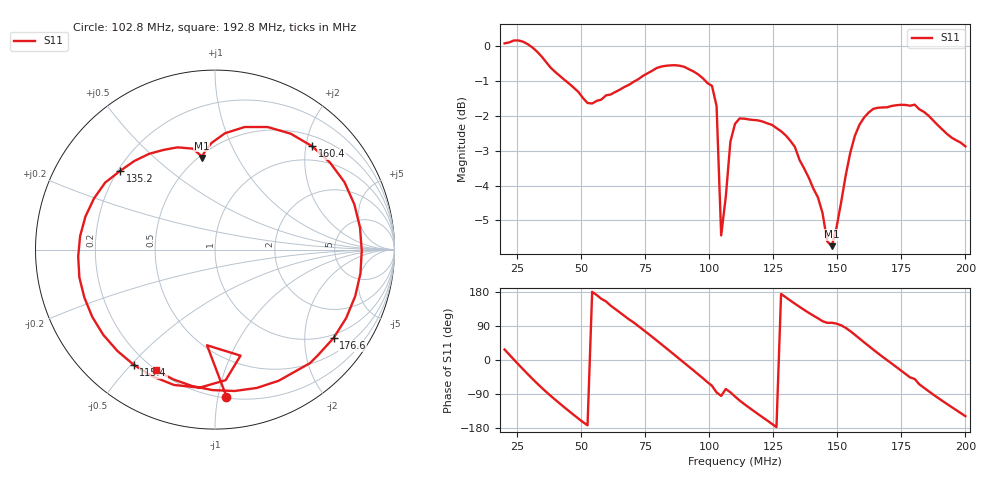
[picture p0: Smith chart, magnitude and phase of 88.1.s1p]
# HZ S RI R 50
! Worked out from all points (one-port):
!   101 points, 20 MHz to 200 MHz, reference 50 ohm
!   lowest |S11| = -5.7 dB at 147.8 MHz (marker M1), VSWR 3.13, Z = 25.9 + j36.1 ohm
!   |S11| at or under -10 dB: nowhere
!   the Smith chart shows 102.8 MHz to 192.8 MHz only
!   S11 on the Smith chart (normalised r, x): 102.8 MHz: 0.21, -1.06; 115.4 MHz: 0.15, -0.51; 135.2 MHz: 0.21, +0.35; 160.4 MHz: 0.69, +2.12; 176.6 MHz: 0.90, -2.75; 192.8 MHz: 0.20, -0.61
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2e7  0.8955 0.468
2.54e7  0.9989 -0.2073
3.26e7  0.4739 -0.8621
3.8e7  -0.0739 -0.9292
4.34e7  -0.5162 -0.7314
5.42e7  -0.8279 0.00226
6.5e7  -0.5039 0.7051
7.58e7  0.2987 0.8647
8.3e7  0.7959 0.4966
8.84e7  0.9376 0.0359
9.56e7  0.7216 -0.5573
1.028e8  0.0639 -0.8187
1.046e8  -0.0447 -0.533
1.064e8  0.1421 -0.5908
1.1e8  -0.0853 -0.7692
1.154e8  -0.4523 -0.642
1.244e8  -0.7557 -0.1552
1.334e8  -0.6122 0.3731
1.352e8  -0.5289 0.4382
1.478e8  -0.0744 0.5107
1.55e8  0.1653 0.683
1.604e8  0.5408 0.5761
1.676e8  0.8079 0.1231
1.766e8  0.6605 -0.4926
1.784e8  0.572 -0.5901
1.856e8  0.1088 -0.7878
1.928e8  -0.3286 -0.6726
2e8  -0.6107 -0.3782
